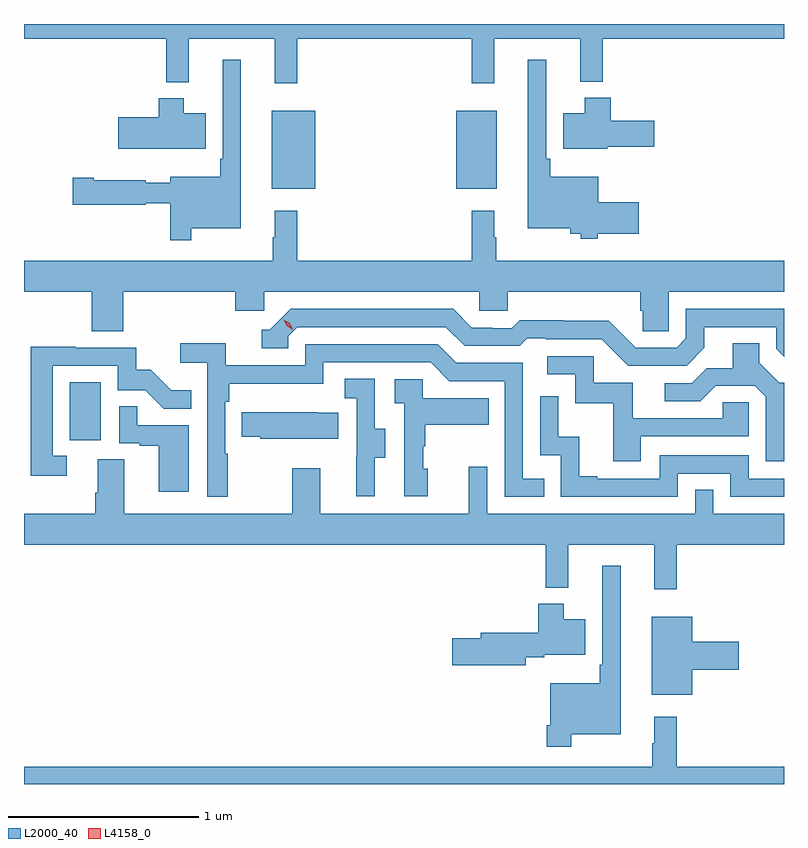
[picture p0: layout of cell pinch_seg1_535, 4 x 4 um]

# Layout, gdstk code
import gdstk
lib = gdstk.Library(unit=1e-6, precision=1e-09)
def R(c, l, rs):  # rectangles x0, y0, x1, y1
    for r in rs: c.add(gdstk.rectangle(r[:2], r[2:], *l))
def P(c, l, *ps):  # polygons
    for p in ps: c.add(gdstk.Polygon(p, *l))
L2000_40 = (2000, 40)
L4158_0 = (4158, 0)

pinch_seg1_535 = lib.new_cell('pinch_seg1_535')
R(pinch_seg1_535, L2000_40, [(1072.19,526.974,1072.354,527.281), (1073.255,528.299,1073.482,528.709), (1074.224,528.299,1074.439,528.709)])
P(pinch_seg1_535, L2000_40, [(1073.387,529.088),(1074.307,529.088),(1074.307,528.855),(1074.425,528.855),(1074.425,529.088),(1074.878,529.088),(1074.878,528.863),(1074.995,528.863),(1074.995,529.088),(1075.95,529.088),(1075.95,529.166),(1071.95,529.166),(1071.95,529.088),(1072.699,529.088),(1072.699,528.86),(1072.817,528.86),(1072.817,529.088),(1073.27,529.088),(1073.27,528.855),(1073.387,528.855)],
  [(1074.969,528.062),(1075.186,528.062),(1075.186,528.228),(1074.973,528.228),(1074.973,528.361),(1074.719,528.361),(1074.719,528.457),(1074.699,528.457),(1074.699,528.979),(1074.602,528.979),(1074.602,528.092),(1074.826,528.092),(1074.826,528.062),(1074.879,528.062),(1074.879,528.035),(1074.969,528.035)],
  [(1072.831,528.092),(1073.092,528.092),(1073.092,528.979),(1072.995,528.979),(1072.995,528.457),(1072.983,528.457),(1072.983,528.361),(1072.721,528.361),(1072.721,528.331),(1072.59,528.331),(1072.59,528.343),(1072.318,528.343),(1072.318,528.356),(1072.206,528.356),(1072.206,528.214),(1072.59,528.214),(1072.59,528.222),(1072.721,528.222),(1072.721,528.027),(1072.831,528.027)],
  [(1075.02,528.52),(1075.267,528.52),(1075.267,528.657),(1075.037,528.657),(1075.037,528.778),(1074.902,528.778),(1074.902,528.697),(1074.788,528.697),(1074.788,528.509),(1075.02,528.509)],
  [(1072.906,528.697),(1072.792,528.697),(1072.792,528.775),(1072.658,528.775),(1072.658,528.675),(1072.446,528.675),(1072.446,528.509),(1072.906,528.509)],
  [(1072.472,527.756),(1073.063,527.756),(1073.063,527.658),(1073.214,527.658),(1073.214,527.756),(1074.345,527.756),(1074.345,527.658),(1074.495,527.658),(1074.495,527.756),(1075.193,527.756),(1075.193,527.658),(1075.207,527.658),(1075.207,527.548),(1075.344,527.548),(1075.344,527.756),(1075.95,527.756),(1075.95,527.92),(1074.436,527.92),(1074.436,528.044),(1074.424,528.044),(1074.424,528.184),(1074.307,528.184),(1074.307,527.92),(1073.387,527.92),(1073.387,528.184),(1073.27,528.184),(1073.27,528.044),(1073.259,528.044),(1073.259,527.92),(1071.95,527.92),(1071.95,527.756),(1072.307,527.756),(1072.307,527.548),(1072.472,527.548)],
  [(1075.531,527.461),(1075.531,527.571),(1075.908,527.571),(1075.908,527.457),(1075.95,527.415),(1075.95,527.667),(1075.434,527.667),(1075.434,527.511),(1075.386,527.463),(1075.17,527.463),(1075.028,527.605),(1074.792,527.605),(1074.792,527.608),(1074.559,527.608),(1074.517,527.565),(1074.414,527.565),(1074.414,527.568),(1074.307,527.568),(1074.208,527.667),(1073.355,527.667),(1073.244,527.556),(1073.201,527.556),(1073.201,527.46),(1073.34,527.46),(1073.34,527.523),(1073.388,527.571),(1074.171,527.571),(1074.27,527.472),(1074.559,527.472),(1074.598,527.511),(1074.697,527.511),(1074.697,527.508),(1074.99,527.508),(1075.131,527.367),(1075.437,527.367)],
  [(1075.95,527.277),(1075.926,527.277),(1075.819,527.384),(1075.819,527.486),(1075.679,527.486),(1075.679,527.354),(1075.544,527.354),(1075.464,527.274),(1075.323,527.274),(1075.323,527.181),(1075.51,527.181),(1075.591,527.262),(1075.797,527.262),(1075.854,527.205),(1075.854,526.866),(1075.95,526.866)],
  [(1073.023,526.904),(1073.01,526.904),(1073.01,527.177),(1073.03,527.177),(1073.03,527.273),(1073.526,527.273),(1073.526,527.385),(1074.09,527.385),(1074.189,527.286),(1074.48,527.286),(1074.48,526.677),(1074.689,526.677),(1074.689,526.773),(1074.576,526.773),(1074.576,527.382),(1074.226,527.382),(1074.127,527.481),(1073.43,527.481),(1073.43,527.37),(1073.012,527.37),(1073.012,527.486),(1072.773,527.486),(1072.773,527.384),(1072.914,527.384),(1072.914,526.677),(1073.023,526.677)],
  [(1072.174,526.893),(1072.101,526.893),(1072.101,527.367),(1072.443,527.367),(1072.443,527.238),(1072.587,527.238),(1072.685,527.14),(1072.829,527.14),(1072.829,527.239),(1072.725,527.239),(1072.618,527.346),(1072.542,527.346),(1072.542,527.463),(1072.223,527.463),(1072.223,527.468),(1071.985,527.468),(1071.985,526.788),(1072.174,526.788)],
  [(1075.195,526.995),(1075.764,526.995),(1075.764,527.175),(1075.627,527.175),(1075.627,527.091),(1075.153,527.091),(1075.153,527.277),(1074.948,527.277),(1074.948,527.418),(1074.705,527.418),(1074.705,527.322),(1074.852,527.322),(1074.852,527.169),(1075.051,527.169),(1075.051,526.866),(1075.195,526.866)],
  [(1073.797,526.882),(1073.851,526.882),(1073.851,527.037),(1073.796,527.037),(1073.796,527.3),(1073.637,527.3),(1073.637,527.197),(1073.7,527.197),(1073.7,526.893),(1073.699,526.893),(1073.699,526.68),(1073.797,526.68)],
  [(1074.076,526.824),(1074.051,526.824),(1074.051,526.943),(1074.061,526.943),(1074.061,527.057),(1074.395,527.057),(1074.395,527.197),(1074.048,527.197),(1074.048,527.295),(1073.901,527.295),(1073.901,527.171),(1073.952,527.171),(1073.952,526.68),(1074.076,526.68)],
  [(1075.392,526.8),(1075.668,526.8),(1075.668,526.677),(1075.95,526.677),(1075.95,526.773),(1075.764,526.773),(1075.764,526.896),(1075.296,526.896),(1075.296,526.773),(1074.967,526.773),(1074.967,526.786),(1074.872,526.786),(1074.872,526.994),(1074.762,526.994),(1074.762,527.206),(1074.666,527.206),(1074.666,526.896),(1074.774,526.896),(1074.774,526.677),(1075.392,526.677)],
  [(1072.816,527.055),(1072.547,527.055),(1072.547,527.153),(1072.452,527.153),(1072.452,526.959),(1072.559,526.959),(1072.559,526.947),(1072.658,526.947),(1072.658,526.704),(1072.816,526.704)],
  [(1073.603,527.119),(1073.495,527.119),(1073.495,527.122),(1073.095,527.122),(1073.095,526.993),(1073.193,526.993),(1073.193,526.982),(1073.603,526.982)],
  [(1075.385,526.424),(1075.95,526.424),(1075.95,526.588),(1075.578,526.588),(1075.578,526.715),(1075.482,526.715),(1075.482,526.588),(1074.387,526.588),(1074.387,526.837),(1074.29,526.837),(1074.29,526.588),(1073.509,526.588),(1073.509,526.828),(1073.362,526.828),(1073.362,526.588),(1072.477,526.588),(1072.477,526.874),(1072.337,526.874),(1072.337,526.7),(1072.325,526.7),(1072.325,526.588),(1071.95,526.588),(1071.95,526.424),(1074.697,526.424),(1074.697,526.199),(1074.815,526.199),(1074.815,526.424),(1075.268,526.424),(1075.268,526.191),(1075.385,526.191)],
  [(1074.829,525.428),(1075.09,525.428),(1075.09,526.315),(1074.993,526.315),(1074.993,525.793),(1074.981,525.793),(1074.981,525.697),(1074.72,525.697),(1074.72,525.475),(1074.7,525.475),(1074.7,525.363),(1074.829,525.363)],
  [(1074.592,525.833),(1074.688,525.833),(1074.688,525.845),(1074.904,525.845),(1074.904,526.033),(1074.79,526.033),(1074.79,526.114),(1074.656,526.114),(1074.656,525.963),(1074.353,525.963),(1074.353,525.933),(1074.204,525.933),(1074.204,525.791),(1074.592,525.791)],
  [(1075.468,525.767),(1075.711,525.767),(1075.711,525.914),(1075.468,525.914),(1075.468,526.045),(1075.253,526.045),(1075.253,525.635),(1075.468,525.635)],
  [(1075.95,525.256),(1075.385,525.256),(1075.385,525.52),(1075.268,525.52),(1075.268,525.38),(1075.257,525.38),(1075.257,525.256),(1071.95,525.256),(1071.95,525.166),(1075.95,525.166)])
P(pinch_seg1_535, L4158_0, [(1073.364,527.557),(1073.333,527.577),(1073.318,527.609),(1073.318,527.61),(1073.318,527.61),(1073.348,527.59),(1073.364,527.558),(1073.364,527.557)])

lib.write_gds('pinch_seg1_535.gds')
